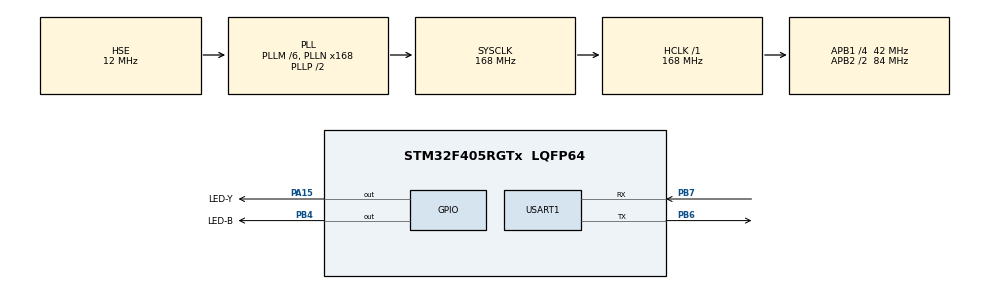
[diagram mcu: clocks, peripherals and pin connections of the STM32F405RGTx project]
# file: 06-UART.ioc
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Mcu.Family=STM32F4
RCC.PLLSourceVirtual=RCC_PLLSOURCE_HSE
PH0-OSC_IN.Signal=RCC_OSC_IN
RCC.CortexFreq_Value=168000000
RCC.APB1CLKDivider=RCC_HCLK_DIV4
RCC.SYSCLKSource=RCC_SYSCLKSOURCE_PLLCLK
ProjectManager.StackSize=0x400
PA13.Signal=SYS_JTMS-SWDIO
PA15.GPIO_Label=LED-Y
ProjectManager.TargetToolchain=MDK-ARM V5.27
RCC.HCLKFreq_Value=168000000
RCC.APB2TimFreq_Value=168000000
PB6.Signal=USART1_TX
PB6.Mode=Asynchronous
PB4.GPIO_PuPd=GPIO_PULLDOWN
RCC.LSE_VALUE=32768
RCC.AHBFreq_Value=168000000
PH0-OSC_IN.Mode=HSE-External-Oscillator
RCC.HSE_VALUE=12000000
board=custom
RCC.VCOOutputFreq_Value=336000000
PA15.PinState=GPIO_PIN_SET
PB4.GPIO_Speed=GPIO_SPEED_FREQ_HIGH
RCC.APB2Freq_Value=84000000
PB4.GPIO_Label=LED-B
PA14.Mode=Serial_Wire
PH1-OSC_OUT.Signal=RCC_OSC_OUT
PB7.Signal=USART1_RX
PA13.Mode=Serial_Wire
Mcu.Name=STM32F405RGTx
PH1-OSC_OUT.Mode=HSE-External-Oscillator
RCC.48MHZClocksFreq_Value=84000000
RCC.SYSCLKFreq_VALUE=168000000
Mcu.Package=LQFP64
USART1.VirtualMode=VM_ASYNC
PA15.GPIO_Speed=GPIO_SPEED_FREQ_HIGH
PB7.Mode=Asynchronous
PA14.Signal=SYS_JTCK-SWCLK
PA15.Signal=GPIO_Output
ProjectManager.HeapSize=0x200
RCC.HSI_VALUE=16000000
NVIC.PriorityGroup=NVIC_PRIORITYGROUP_4
RCC.APB2CLKDivider=RCC_HCLK_DIV2
RCC.PLLM=6
RCC.PLLN=168
PA15.GPIO_PuPd=GPIO_PULLDOWN
RCC.APB1TimFreq_Value=84000000
NVIC.USART1_IRQn=true\:0\:0\:false\:false\:true\:true\:true
RCC.APB1Freq_Value=42000000
PB4.PinState=GPIO_PIN_SET
PB4.Signal=GPIO_Output

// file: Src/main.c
/* USER CODE BEGIN Header */
/**
  ******************************************************************************
  * @file           : main.c
  * @brief          : Main program body
  ******************************************************************************
  * @attention
  *
  * <h2><center>&copy; Copyright (c) 2020 STMicroelectronics.
  * All rights reserved.</center></h2>
  *
  * This software component is licensed by ST under BSD 3-Clause license,
  * the "License"; You may not use this file except in compliance with the
  * License. You may obtain a copy of the License at:
  *                        opensource.org/licenses/BSD-3-Clause
  *
  ******************************************************************************
  */
/* USER CODE END Header */

#include "main.h"
#include "usart.h"
#include "gpio.h"

/* USER CODE BEGIN PV */
uint8_t rxBuffer[100];
/* USER CODE END PV */

void SystemClock_Config(void);

/* USER CODE BEGIN 0 */
void USART1_IRQHandler(void)  //重写了CubeMX提供的中断服务函数，需要把stm32f4xx_it里边的void USART1_IRQHandler(void)屏蔽掉
{
	volatile uint8_t receive;
	//CubeMX生成的部分
	HAL_UART_IRQHandler(&huart1);
	//空闲中断
	if(huart1.Instance->SR & UART_FLAG_IDLE)
	{
		receive = huart1.Instance->DR;//先读SR，再读DR可以清除空闲中断标志位
		HAL_GPIO_WritePin(LED_B_GPIO_Port, LED_B_Pin, GPIO_PIN_RESET);
		HAL_UART_Transmit(&huart1,rxBuffer,sizeof(rxBuffer),0xffff);	//空闲的时候，把接收到的数据发回去
	}
}
//接收中断回调函数
void HAL_UART_RxCpltCallback(UART_HandleTypeDef *huart)
{
	if(huart == &huart1)
	{
		HAL_GPIO_WritePin(LED_B_GPIO_Port, LED_B_Pin, GPIO_PIN_SET);
		HAL_UART_Receive_IT(&huart1,rxBuffer,sizeof(rxBuffer));//使用HAL库提供的接收中断，每次进入接收中断后，它都会关闭接收中断，得重新打开
	}
}
/* USER CODE END 0 */

int main(void)
{

  /* MCU Configuration--------------------------------------------------------*/

  /* Reset of all peripherals, Initializes the Flash interface and the Systick. */
  HAL_Init();

  /* Configure the system clock */
  SystemClock_Config();

  /* Initialize all configured peripherals */
  MX_GPIO_Init();
  MX_USART1_UART_Init();
  /* USER CODE BEGIN 2 */
	//使能接收中断和空闲中断
  __HAL_UART_ENABLE_IT(&huart1, UART_IT_RXNE);  //接收中断
  __HAL_UART_ENABLE_IT(&huart1, UART_IT_IDLE);  //空闲中断
	HAL_UART_Receive_IT(&huart1,rxBuffer,sizeof(rxBuffer));	//接收完100个字节后自动调用接收中断回调函数
  /* USER CODE END 2 */

  /* Infinite loop */
  /* USER CODE BEGIN WHILE */
  while (1)
  {
		if(rxBuffer[0] == 0x00)
		{
			HAL_GPIO_WritePin(LED_Y_GPIO_Port,LED_Y_Pin,GPIO_PIN_RESET);
		}
		else if(rxBuffer[0] == 0xff)
		{
			HAL_GPIO_WritePin(LED_Y_GPIO_Port,LED_Y_Pin,GPIO_PIN_SET);
		}
    /* USER CODE END WHILE */

  }
}

void SystemClock_Config(void)
{
  RCC_OscInitTypeDef RCC_OscInitStruct = {0};
  RCC_ClkInitTypeDef RCC_ClkInitStruct = {0};

  /** Configure the main internal regulator output voltage
  */
  __HAL_RCC_PWR_CLK_ENABLE();
  __HAL_PWR_VOLTAGESCALING_CONFIG(PWR_REGULATOR_VOLTAGE_SCALE1);
  /** Initializes the CPU, AHB and APB busses clocks
  */
  RCC_OscInitStruct.OscillatorType = RCC_OSCILLATORTYPE_HSE;
  RCC_OscInitStruct.HSEState = RCC_HSE_ON;
  RCC_OscInitStruct.PLL.PLLState = RCC_PLL_ON;
  RCC_OscInitStruct.PLL.PLLSource = RCC_PLLSOURCE_HSE;
  RCC_OscInitStruct.PLL.PLLM = 6;
  RCC_OscInitStruct.PLL.PLLN = 168;
  RCC_OscInitStruct.PLL.PLLP = RCC_PLLP_DIV2;
  RCC_OscInitStruct.PLL.PLLQ = 4;
  if (HAL_RCC_OscConfig(&RCC_OscInitStruct) != HAL_OK)
  {
    Error_Handler();
  }
  /** Initializes the CPU, AHB and APB busses clocks
  */
  RCC_ClkInitStruct.ClockType = RCC_CLOCKTYPE_HCLK|RCC_CLOCKTYPE_SYSCLK
                              |RCC_CLOCKTYPE_PCLK1|RCC_CLOCKTYPE_PCLK2;
  RCC_ClkInitStruct.SYSCLKSource = RCC_SYSCLKSOURCE_PLLCLK;
  RCC_ClkInitStruct.AHBCLKDivider = RCC_SYSCLK_DIV1;
  RCC_ClkInitStruct.APB1CLKDivider = RCC_HCLK_DIV4;
  RCC_ClkInitStruct.APB2CLKDivider = RCC_HCLK_DIV2;

  if (HAL_RCC_ClockConfig(&RCC_ClkInitStruct, FLASH_LATENCY_5) != HAL_OK)
  {
    Error_Handler();
  }
}

void Error_Handler(void)
{
}

/************************ (C) COPYRIGHT STMicroelectronics *****END OF FILE****/
